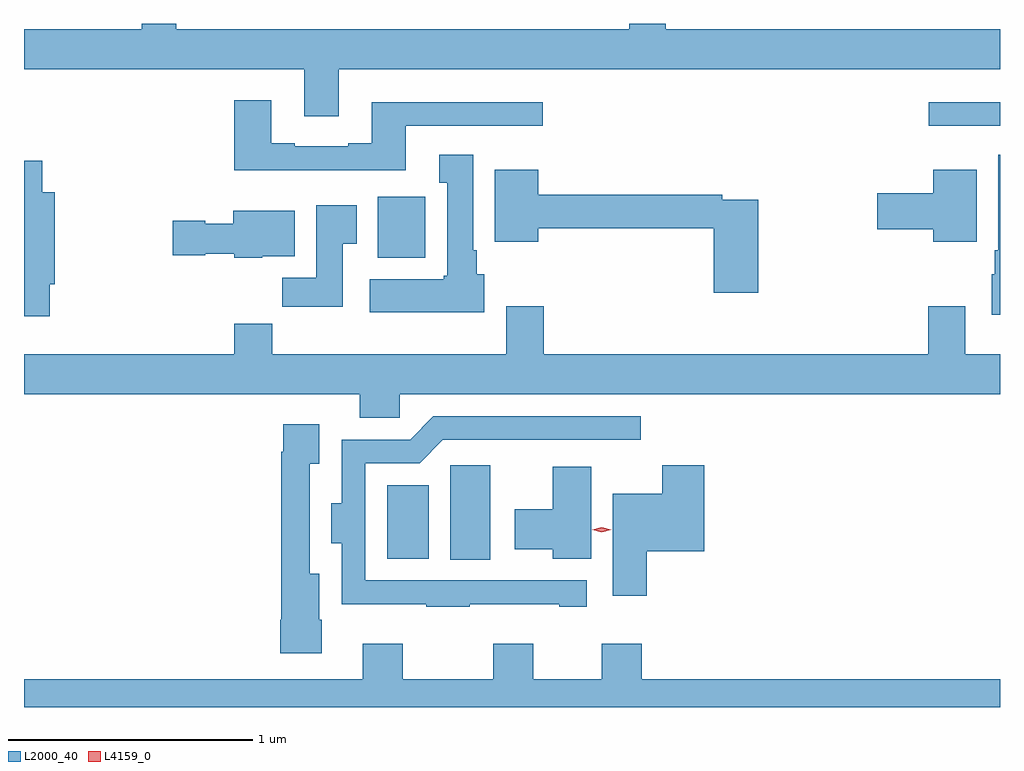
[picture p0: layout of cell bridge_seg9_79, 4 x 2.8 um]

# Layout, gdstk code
import gdstk
lib = gdstk.Library(unit=1e-6, precision=1e-09)
def R(c, l, rs):  # rectangles x0, y0, x1, y1
    for r in rs: c.add(gdstk.rectangle(r[:2], r[2:], *l))
def P(c, l, *ps):  # polygons
    for p in ps: c.add(gdstk.Polygon(p, *l))
L2000_40 = (2000, 40)
L4159_0 = (4159, 0)

bridge_seg9_79 = lib.new_cell('bridge_seg9_79')
R(bridge_seg9_79, L2000_40, [(1108.196,1165.105,1108.36,1165.492), (1107.938,1165.109,1108.108,1165.411), (1107.899,1166.342,1108.095,1166.593), (1110.159,1166.883,1110.45,1166.98)])
P(bridge_seg9_79, L2000_40, [(1107.739,1167.116),(1110.45,1167.116),(1110.45,1167.28),(1109.08,1167.28),(1109.08,1167.302),(1108.931,1167.302),(1108.931,1167.28),(1107.073,1167.28),(1107.073,1167.302),(1106.933,1167.302),(1106.933,1167.28),(1106.45,1167.28),(1106.45,1167.116),(1107.599,1167.116),(1107.599,1166.922),(1107.739,1166.922)],
  [(1108.015,1166.883),(1108.576,1166.883),(1108.576,1166.98),(1107.875,1166.98),(1107.875,1166.812),(1107.779,1166.812),(1107.779,1166.799),(1107.559,1166.799),(1107.559,1166.812),(1107.463,1166.812),(1107.463,1166.989),(1107.311,1166.989),(1107.311,1166.702),(1108.015,1166.702)],
  [(1108.336,1166.274),(1108.306,1166.274),(1108.306,1166.374),(1108.291,1166.374),(1108.291,1166.764),(1108.151,1166.764),(1108.151,1166.651),(1108.184,1166.651),(1108.184,1166.268),(1108.171,1166.268),(1108.171,1166.254),(1107.867,1166.254),(1107.867,1166.12),(1108.336,1166.12)],
  [(1110.45,1166.764),(1110.443,1166.764),(1110.443,1166.374),(1110.428,1166.374),(1110.428,1166.274),(1110.416,1166.274),(1110.416,1166.108),(1110.45,1166.108)],
  [(1106.555,1166.235),(1106.576,1166.235),(1106.576,1166.611),(1106.525,1166.611),(1106.525,1166.74),(1106.45,1166.74),(1106.45,1166.102),(1106.555,1166.102)],
  [(1110.355,1166.704),(1110.176,1166.704),(1110.176,1166.606),(1109.946,1166.606),(1109.946,1166.459),(1110.176,1166.459),(1110.176,1166.408),(1110.355,1166.408)],
  [(1109.459,1166.58),(1109.312,1166.58),(1109.312,1166.6),(1108.558,1166.6),(1108.558,1166.704),(1108.379,1166.704),(1108.379,1166.408),(1108.558,1166.408),(1108.558,1166.464),(1109.276,1166.464),(1109.276,1166.199),(1109.459,1166.199)],
  [(1107.757,1166.401),(1107.814,1166.401),(1107.814,1166.557),(1107.647,1166.557),(1107.647,1166.26),(1107.508,1166.26),(1107.508,1166.142),(1107.757,1166.142)],
  [(1107.426,1166.348),(1107.559,1166.348),(1107.559,1166.536),(1107.308,1166.536),(1107.308,1166.482),(1107.192,1166.482),(1107.192,1166.495),(1107.06,1166.495),(1107.06,1166.353),(1107.192,1166.353),(1107.192,1166.36),(1107.312,1166.36),(1107.312,1166.342),(1107.426,1166.342)],
  [(1107.99,1165.784),(1110.45,1165.784),(1110.45,1165.948),(1110.307,1165.948),(1110.307,1166.143),(1110.155,1166.143),(1110.155,1165.948),(1108.58,1165.948),(1108.58,1166.143),(1108.427,1166.143),(1108.427,1165.948),(1107.467,1165.948),(1107.467,1166.072),(1107.311,1166.072),(1107.311,1165.948),(1106.45,1165.948),(1106.45,1165.784),(1107.827,1165.784),(1107.827,1165.686),(1107.99,1165.686)],
  [(1108.277,1164.923),(1108.643,1164.923),(1108.643,1164.912),(1108.756,1164.912),(1108.756,1165.02),(1107.849,1165.02),(1107.849,1165.5),(1108.071,1165.5),(1108.167,1165.596),(1108.978,1165.596),(1108.978,1165.692),(1108.128,1165.692),(1108.032,1165.596),(1107.752,1165.596),(1107.752,1165.336),(1107.71,1165.336),(1107.71,1165.172),(1107.753,1165.172),(1107.753,1164.923),(1108.099,1164.923),(1108.099,1164.912),(1108.277,1164.912)],
  [(1107.67,1164.858),(1107.661,1164.858),(1107.661,1165.048),(1107.621,1165.048),(1107.621,1165.499),(1107.661,1165.499),(1107.661,1165.66),(1107.513,1165.66),(1107.513,1165.547),(1107.505,1165.547),(1107.505,1164.858),(1107.5,1164.858),(1107.5,1164.722),(1107.67,1164.722)],
  [(1109.003,1165.139),(1109.237,1165.139),(1109.237,1165.492),(1109.066,1165.492),(1109.066,1165.375),(1108.862,1165.375),(1108.862,1164.957),(1109.003,1164.957)],
  [(1108.774,1165.486),(1108.616,1165.486),(1108.616,1165.312),(1108.461,1165.312),(1108.461,1165.148),(1108.616,1165.148),(1108.616,1165.109),(1108.774,1165.109)],
  [(1110.45,1164.616),(1108.981,1164.616),(1108.981,1164.76),(1108.817,1164.76),(1108.817,1164.616),(1108.537,1164.616),(1108.537,1164.76),(1108.373,1164.76),(1108.373,1164.616),(1108.003,1164.616),(1108.003,1164.76),(1107.839,1164.76),(1107.839,1164.616),(1106.45,1164.616),(1106.45,1164.5),(1110.45,1164.5)])
P(bridge_seg9_79, L4159_0, [(1108.818,1165.218),(1108.779,1165.228),(1108.779,1165.228),(1108.779,1165.228),(1108.818,1165.238),(1108.856,1165.228),(1108.856,1165.228),(1108.856,1165.228)])

lib.write_gds('bridge_seg9_79.gds')
